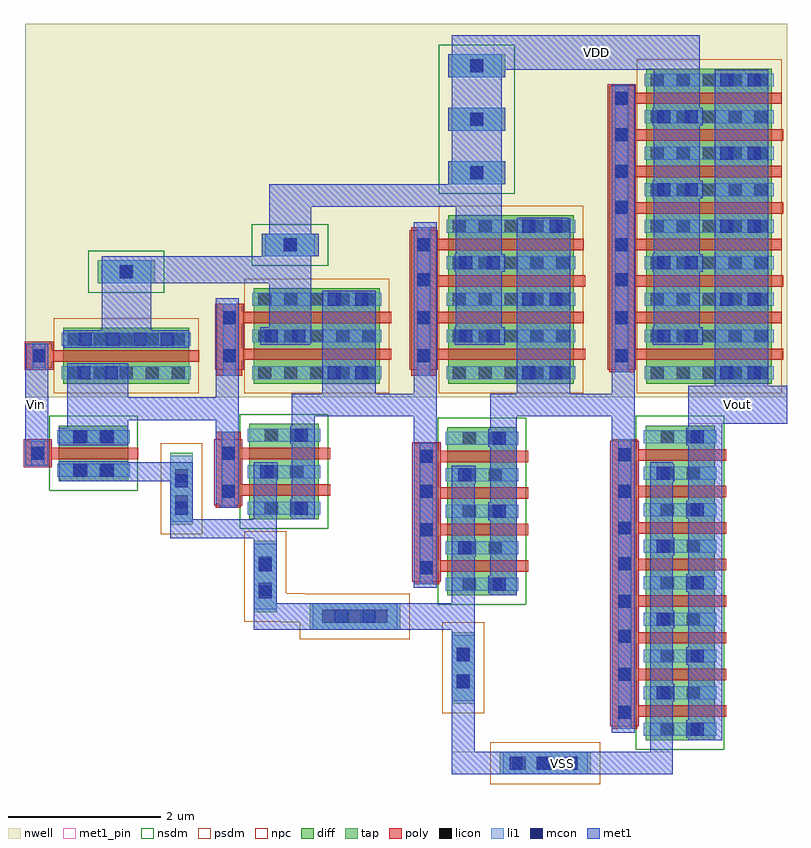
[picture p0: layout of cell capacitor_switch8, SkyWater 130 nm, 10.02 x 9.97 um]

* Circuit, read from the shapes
.subckt capacitor_switch8 VDD VSS Vin Vout
XM1 n1 Vin VSS VSS sky130_fd_pr__nfet_01v8 w=0.91 l=0.15
XM2 VSS n1 n2 VSS sky130_fd_pr__nfet_01v8 w=0.91 l=0.15 m=2
XM3 VSS n2 n3 VSS sky130_fd_pr__nfet_01v8 w=0.91 l=0.15 m=4
XM4 VSS n3 Vout VSS sky130_fd_pr__nfet_01v8 w=0.91 l=0.15 m=8
XM5 VDD Vin n1 VDD sky130_fd_pr__pfet_01v8 w=1.65 l=0.15
XM6 VDD n1 n2 VDD sky130_fd_pr__pfet_01v8 w=1.65 l=0.15 m=2
XM7 VDD n2 n3 VDD sky130_fd_pr__pfet_01v8 w=1.65 l=0.15 m=4
XM8 VDD n3 Vout VDD sky130_fd_pr__pfet_01v8 w=1.65 l=0.15 m=8
.ends

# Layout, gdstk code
from math import pi, radians
import gdstk
lib = gdstk.Library(unit=1e-6, precision=1e-09)
def R(c, l, rs):  # rectangles x0, y0, x1, y1
    for r in rs: c.add(gdstk.rectangle(r[:2], r[2:], *l))
def A(c, l, x, y, w, h, nx, ny, dx, dy):  # array of equal rectangles
    R(c, l, [(x+i*dx, y+j*dy, x+i*dx+w, y+j*dy+h) for i in range(nx) for j in range(ny)])
nwell = (64, 20)
diff = (65, 20)
tap = (65, 44)
poly = (66, 20)
licon = (66, 44)
li1 = (67, 20)
mcon = (67, 44)
met1_pin = (68, 16)
met1 = (68, 20)
nsdm = (93, 44)
psdm = (94, 20)
npc = (95, 20)

sky130_fd_pr__nfet_01v8_ = lib.new_cell('sky130_fd_pr__nfet_01v8_9CGS2F')
R(sky130_fd_pr__nfet_01v8_, diff, [(-0.365,-0.3,0.365,0.61)])
R(sky130_fd_pr__nfet_01v8_, poly, [(-0.165,-0.74,0.165,-0.41), (-0.075,-0.41,0.075,0.74)])
R(sky130_fd_pr__nfet_01v8_, licon, [(-0.085,-0.66,0.085,-0.49), (-0.305,-0.1,-0.135,0.07), (0.135,-0.1,0.305,0.07), (-0.305,0.24,-0.135,0.41), (0.135,0.24,0.305,0.41)])
R(sky130_fd_pr__nfet_01v8_, li1, [(-0.165,-0.66,0.165,-0.49), (-0.305,-0.32,-0.135,0.63), (0.135,-0.32,0.305,0.63)])
R(sky130_fd_pr__nfet_01v8_, mcon, [(-0.085,-0.66,0.085,-0.49), (-0.305,-0.11,-0.135,0.06), (0.135,-0.11,0.305,0.06), (-0.305,0.25,-0.135,0.42), (0.135,0.25,0.305,0.42)])
R(sky130_fd_pr__nfet_01v8_, met1, [(-0.145,-0.69,0.145,-0.46), (-0.335,-0.3,-0.105,0.61), (0.105,-0.3,0.335,0.61)])
R(sky130_fd_pr__nfet_01v8_, nsdm, [(-0.49,-0.425,0.49,0.735)])
R(sky130_fd_pr__nfet_01v8_, npc, [(-0.185,-0.76,0.185,-0.39)])

sky130_fd_pr__pfet_01v8_ = lib.new_cell('sky130_fd_pr__pfet_01v8_CBVRKH')
R(sky130_fd_pr__pfet_01v8_, nwell, [(-2.255,-1.325,2.245,1.025)])
R(sky130_fd_pr__pfet_01v8_, diff, [(-2.065,-0.825,2.065,0.825)])
A(sky130_fd_pr__pfet_01v8_, poly, -1.755, -0.98, 0.15, 1.935, 4, 1, 0.96, 0)
A(sky130_fd_pr__pfet_01v8_, poly, -1.275, -0.98, 0.15, 1.955, 4, 1, 0.96, 0)
R(sky130_fd_pr__pfet_01v8_, poly, [(-1.845,-1.31,1.915,-0.98)])
A(sky130_fd_pr__pfet_01v8_, licon, -1.765, -1.23, 0.17, 0.17, 3, 1, 0.48, 0)
A(sky130_fd_pr__pfet_01v8_, licon, 0.615, -1.23, 0.17, 0.17, 3, 1, 0.5, 0)
A(sky130_fd_pr__pfet_01v8_, licon, -2.005, -0.765, 0.17, 0.17, 9, 5, 0.48, 0.34)
R(sky130_fd_pr__pfet_01v8_, licon, [(-0.335,-1.23,-0.165,-1.06), (0.155,-1.23,0.325,-1.06)])
A(sky130_fd_pr__pfet_01v8_, li1, -2.005, -0.845, 0.17, 1.69, 9, 1, 0.48, 0)
R(sky130_fd_pr__pfet_01v8_, li1, [(-1.845,-1.23,1.915,-1.06)])
A(sky130_fd_pr__pfet_01v8_, mcon, -1.765, -1.23, 0.17, 0.17, 3, 1, 0.48, 0)
A(sky130_fd_pr__pfet_01v8_, mcon, 0.615, -1.23, 0.17, 0.17, 3, 1, 0.5, 0)
A(sky130_fd_pr__pfet_01v8_, mcon, -1.525, -0.68, 0.17, 0.17, 4, 2, 0.96, 0.36)
A(sky130_fd_pr__pfet_01v8_, mcon, -2.005, 0.145, 0.17, 0.17, 5, 2, 0.96, 0.36)
R(sky130_fd_pr__pfet_01v8_, mcon, [(-0.335,-1.23,-0.165,-1.06), (0.155,-1.23,0.325,-1.06)])
A(sky130_fd_pr__pfet_01v8_, met1, -1.555, -0.74, 0.23, 0.655, 4, 1, 0.96, 0)
A(sky130_fd_pr__pfet_01v8_, met1, -2.035, 0.085, 0.23, 0.655, 5, 1, 0.96, 0)
R(sky130_fd_pr__pfet_01v8_, met1, [(-1.835,-1.26,1.915,-1.03)])
R(sky130_fd_pr__pfet_01v8_, psdm, [(-2.19,-0.95,2.19,0.95)])
R(sky130_fd_pr__pfet_01v8_, npc, [(-1.865,-1.33,1.885,-0.96)])

c_sky130_fd_pr__nfet_01v8_ = lib.new_cell('sky130_fd_pr__nfet_01v8_MRXJZU')
R(c_sky130_fd_pr__nfet_01v8_, diff, [(-2.065,-0.455,2.065,0.455)])
A(c_sky130_fd_pr__nfet_01v8_, poly, -1.755, -0.565, 0.15, 1.17, 8, 1, 0.48, 0)
R(c_sky130_fd_pr__nfet_01v8_, poly, [(-1.885,-0.895,1.915,-0.565)])
A(c_sky130_fd_pr__nfet_01v8_, licon, -1.765, -0.815, 0.17, 0.17, 3, 1, 0.48, 0)
A(c_sky130_fd_pr__nfet_01v8_, licon, 0.615, -0.815, 0.17, 0.17, 3, 1, 0.5, 0)
A(c_sky130_fd_pr__nfet_01v8_, licon, -2.005, -0.255, 0.17, 0.17, 9, 2, 0.48, 0.34)
R(c_sky130_fd_pr__nfet_01v8_, licon, [(-0.335,-0.815,-0.165,-0.645), (0.155,-0.815,0.325,-0.645)])
A(c_sky130_fd_pr__nfet_01v8_, li1, -2.005, -0.475, 0.17, 0.95, 9, 1, 0.48, 0)
R(c_sky130_fd_pr__nfet_01v8_, li1, [(-1.885,-0.815,1.915,-0.645)])
A(c_sky130_fd_pr__nfet_01v8_, mcon, -1.765, -0.815, 0.17, 0.17, 3, 1, 0.48, 0)
A(c_sky130_fd_pr__nfet_01v8_, mcon, 0.615, -0.815, 0.17, 0.17, 3, 1, 0.5, 0)
A(c_sky130_fd_pr__nfet_01v8_, mcon, -1.525, -0.31, 0.17, 0.17, 4, 1, 0.96, 0)
A(c_sky130_fd_pr__nfet_01v8_, mcon, -2.005, 0.14, 0.17, 0.17, 5, 1, 0.96, 0)
R(c_sky130_fd_pr__nfet_01v8_, mcon, [(-0.335,-0.815,-0.165,-0.645), (0.155,-0.815,0.325,-0.645)])
A(c_sky130_fd_pr__nfet_01v8_, met1, -1.555, -0.37, 0.23, 0.29, 4, 1, 0.96, 0)
A(c_sky130_fd_pr__nfet_01v8_, met1, -2.035, 0.08, 0.23, 0.29, 5, 1, 0.96, 0)
R(c_sky130_fd_pr__nfet_01v8_, met1, [(-1.885,-0.845,1.915,-0.615)])
R(c_sky130_fd_pr__nfet_01v8_, nsdm, [(-2.19,-0.58,2.19,0.58)])
R(c_sky130_fd_pr__nfet_01v8_, npc, [(-1.865,-0.915,1.885,-0.545)])

c_sky130_fd_pr__pfet_01v8_ = lib.new_cell('sky130_fd_pr__pfet_01v8_CBDHKH')
R(c_sky130_fd_pr__pfet_01v8_, nwell, [(-1.315,-1.325,1.285,1.025)])
R(c_sky130_fd_pr__pfet_01v8_, diff, [(-1.105,-0.825,1.105,0.825)])
R(c_sky130_fd_pr__pfet_01v8_, poly, [(-0.945,-1.31,1.005,-0.98), (-0.795,-0.98,-0.645,0.955), (-0.315,-0.98,-0.165,0.975), (0.165,-0.98,0.315,0.955), (0.645,-0.98,0.795,0.975)])
A(c_sky130_fd_pr__pfet_01v8_, licon, -0.345, -1.23, 0.17, 0.17, 3, 1, 0.5, 0)
A(c_sky130_fd_pr__pfet_01v8_, licon, -1.045, -0.765, 0.17, 0.17, 5, 5, 0.48, 0.34)
R(c_sky130_fd_pr__pfet_01v8_, licon, [(-0.805,-1.23,-0.635,-1.06)])
A(c_sky130_fd_pr__pfet_01v8_, li1, -1.045, -0.845, 0.17, 1.69, 5, 1, 0.48, 0)
R(c_sky130_fd_pr__pfet_01v8_, li1, [(-0.945,-1.23,1.005,-1.06)])
A(c_sky130_fd_pr__pfet_01v8_, mcon, -0.345, -1.23, 0.17, 0.17, 3, 1, 0.5, 0)
A(c_sky130_fd_pr__pfet_01v8_, mcon, -1.045, 0.145, 0.17, 0.17, 3, 2, 0.96, 0.36)
R(c_sky130_fd_pr__pfet_01v8_, mcon, [(-0.805,-1.23,-0.635,-1.06), (-0.565,-0.68,-0.395,-0.51), (0.395,-0.68,0.565,-0.51), (-0.565,-0.32,-0.395,-0.15), (0.395,-0.32,0.565,-0.15)])
A(c_sky130_fd_pr__pfet_01v8_, met1, -1.075, 0.085, 0.23, 0.655, 3, 1, 0.96, 0)
R(c_sky130_fd_pr__pfet_01v8_, met1, [(-0.945,-1.26,1.005,-1.03), (-0.595,-0.74,-0.365,-0.085), (0.365,-0.74,0.595,-0.085)])
R(c_sky130_fd_pr__pfet_01v8_, psdm, [(-1.23,-0.95,1.23,0.95)])
R(c_sky130_fd_pr__pfet_01v8_, npc, [(-0.905,-1.33,0.925,-0.96)])

c_sky130_fd_pr__nfet_01v8__ = lib.new_cell('sky130_fd_pr__nfet_01v8_ZDVJZL')
R(c_sky130_fd_pr__nfet_01v8__, diff, [(-1.105,-0.455,1.105,0.455)])
A(c_sky130_fd_pr__nfet_01v8__, poly, -0.795, -0.565, 0.15, 1.17, 4, 1, 0.48, 0)
R(c_sky130_fd_pr__nfet_01v8__, poly, [(-0.895,-0.895,0.955,-0.565)])
A(c_sky130_fd_pr__nfet_01v8__, licon, -0.345, -0.815, 0.17, 0.17, 3, 1, 0.5, 0)
A(c_sky130_fd_pr__nfet_01v8__, licon, -1.045, -0.255, 0.17, 0.17, 5, 2, 0.48, 0.34)
R(c_sky130_fd_pr__nfet_01v8__, licon, [(-0.805,-0.815,-0.635,-0.645)])
A(c_sky130_fd_pr__nfet_01v8__, li1, -1.045, -0.475, 0.17, 0.95, 5, 1, 0.48, 0)
R(c_sky130_fd_pr__nfet_01v8__, li1, [(-0.895,-0.815,0.955,-0.645)])
A(c_sky130_fd_pr__nfet_01v8__, mcon, -0.345, -0.815, 0.17, 0.17, 3, 1, 0.5, 0)
A(c_sky130_fd_pr__nfet_01v8__, mcon, -1.045, 0.14, 0.17, 0.17, 3, 1, 0.96, 0)
R(c_sky130_fd_pr__nfet_01v8__, mcon, [(-0.805,-0.815,-0.635,-0.645), (-0.565,-0.31,-0.395,-0.14), (0.395,-0.31,0.565,-0.14)])
A(c_sky130_fd_pr__nfet_01v8__, met1, -1.075, 0.08, 0.23, 0.29, 3, 1, 0.96, 0)
R(c_sky130_fd_pr__nfet_01v8__, met1, [(-0.895,-0.845,0.955,-0.615), (-0.595,-0.37,-0.365,-0.08), (0.365,-0.37,0.595,-0.08)])
R(c_sky130_fd_pr__nfet_01v8__, nsdm, [(-1.23,-0.58,1.23,0.58)])
R(c_sky130_fd_pr__nfet_01v8__, npc, [(-0.905,-0.915,0.925,-0.545)])

c_sky130_fd_pr__pfet_01v8__ = lib.new_cell('sky130_fd_pr__pfet_01v8_CBMBZG')
R(c_sky130_fd_pr__pfet_01v8__, nwell, [(-0.845,-1.325,0.805,1.025)])
R(c_sky130_fd_pr__pfet_01v8__, diff, [(-0.625,-0.825,0.625,0.825)])
R(c_sky130_fd_pr__pfet_01v8__, poly, [(-0.425,-1.31,0.525,-0.98), (-0.315,-0.98,-0.165,0.975), (0.165,-0.98,0.315,0.975)])
A(c_sky130_fd_pr__pfet_01v8__, licon, -0.565, -0.765, 0.17, 0.17, 3, 5, 0.48, 0.34)
R(c_sky130_fd_pr__pfet_01v8__, licon, [(-0.325,-1.23,-0.155,-1.06), (0.175,-1.23,0.345,-1.06)])
A(c_sky130_fd_pr__pfet_01v8__, li1, -0.565, -0.845, 0.17, 1.69, 3, 1, 0.48, 0)
R(c_sky130_fd_pr__pfet_01v8__, li1, [(-0.425,-1.23,0.525,-1.06)])
R(c_sky130_fd_pr__pfet_01v8__, mcon, [(-0.325,-1.23,-0.155,-1.06), (0.175,-1.23,0.345,-1.06), (-0.085,-0.68,0.085,-0.51), (-0.085,-0.32,0.085,-0.15), (-0.565,0.145,-0.395,0.315), (0.395,0.145,0.565,0.315), (-0.565,0.505,-0.395,0.675), (0.395,0.505,0.565,0.675)])
R(c_sky130_fd_pr__pfet_01v8__, met1, [(-0.425,-1.26,0.525,-1.03), (-0.115,-0.74,0.115,-0.085), (-0.595,0.085,-0.365,0.74), (0.365,0.085,0.595,0.74)])
R(c_sky130_fd_pr__pfet_01v8__, psdm, [(-0.75,-0.95,0.75,0.95)])
R(c_sky130_fd_pr__pfet_01v8__, npc, [(-0.425,-1.33,0.445,-0.96)])

c_sky130_fd_pr__nfet_01v8___ = lib.new_cell('sky130_fd_pr__nfet_01v8_5XXJZ8')
R(c_sky130_fd_pr__nfet_01v8___, diff, [(-0.625,-0.455,0.625,0.455)])
R(c_sky130_fd_pr__nfet_01v8___, poly, [(-0.525,-0.895,0.475,-0.565), (-0.315,-0.565,-0.165,0.605), (0.165,-0.565,0.315,0.605)])
A(c_sky130_fd_pr__nfet_01v8___, licon, -0.565, -0.255, 0.17, 0.17, 3, 2, 0.48, 0.34)
R(c_sky130_fd_pr__nfet_01v8___, licon, [(-0.325,-0.815,-0.155,-0.645), (0.175,-0.815,0.345,-0.645)])
A(c_sky130_fd_pr__nfet_01v8___, li1, -0.565, -0.475, 0.17, 0.95, 3, 1, 0.48, 0)
R(c_sky130_fd_pr__nfet_01v8___, li1, [(-0.525,-0.815,0.475,-0.645)])
R(c_sky130_fd_pr__nfet_01v8___, mcon, [(-0.325,-0.815,-0.155,-0.645), (0.175,-0.815,0.345,-0.645), (-0.085,-0.31,0.085,-0.14), (-0.565,0.14,-0.395,0.31), (0.395,0.14,0.565,0.31)])
R(c_sky130_fd_pr__nfet_01v8___, met1, [(-0.525,-0.845,0.475,-0.615), (-0.115,-0.37,0.115,-0.08), (-0.595,0.08,-0.365,0.37), (0.365,0.08,0.595,0.37)])
R(c_sky130_fd_pr__nfet_01v8___, nsdm, [(-0.75,-0.58,0.75,0.58)])
R(c_sky130_fd_pr__nfet_01v8___, npc, [(-0.425,-0.915,0.445,-0.545)])

c_sky130_fd_pr__pfet_01v8___ = lib.new_cell('sky130_fd_pr__pfet_01v8_46WN3R')
R(c_sky130_fd_pr__pfet_01v8___, nwell, [(-0.545,-1.145,0.545,1.315)])
R(c_sky130_fd_pr__pfet_01v8___, diff, [(-0.365,-0.645,0.365,1.005)])
R(c_sky130_fd_pr__pfet_01v8___, poly, [(-0.165,-1.13,0.165,-0.8), (-0.075,-0.8,0.075,1.135)])
A(c_sky130_fd_pr__pfet_01v8___, licon, -0.305, -0.585, 0.17, 0.17, 1, 5, 0, 0.34)
A(c_sky130_fd_pr__pfet_01v8___, licon, 0.135, -0.585, 0.17, 0.17, 1, 5, 0, 0.34)
R(c_sky130_fd_pr__pfet_01v8___, licon, [(-0.085,-1.05,0.085,-0.88)])
R(c_sky130_fd_pr__pfet_01v8___, li1, [(-0.165,-1.05,0.165,-0.88), (-0.305,-0.665,-0.135,1.025), (0.135,-0.665,0.305,1.025)])
A(c_sky130_fd_pr__pfet_01v8___, mcon, 0.135, -0.445, 0.17, 0.17, 1, 4, 0, 0.36)
R(c_sky130_fd_pr__pfet_01v8___, mcon, [(-0.085,-1.05,0.085,-0.88), (-0.305,-0.46,-0.135,-0.29), (-0.305,-0.1,-0.135,0.07)])
R(c_sky130_fd_pr__pfet_01v8___, met1, [(-0.145,-1.08,0.145,-0.85), (0.105,-0.645,0.335,1.005), (-0.335,-0.56,-0.105,0.17)])
R(c_sky130_fd_pr__pfet_01v8___, psdm, [(-0.49,-0.77,0.49,1.13)])
R(c_sky130_fd_pr__pfet_01v8___, npc, [(-0.185,-1.15,0.185,-0.78)])

capacitor_switch8 = lib.new_cell('capacitor_switch8')
R(capacitor_switch8, nwell, [(-0.1,5.4,9.9,10.3)])
A(capacitor_switch8, tap, 5.45, 8.2, 0.75, 0.3, 1, 3, 0, 0.7)
R(capacitor_switch8, tap, [(6.13,0.45,7.32,0.75), (5.5,1.38,5.8,2.32), (3.63,2.35,4.82,2.7), (2.9,2.58,3.2,3.52), (1.8,3.73,2.1,4.67), (0.85,6.9,1.6,7.2), (3,7.25,3.75,7.55)])
A(capacitor_switch8, licon, 6.3, 0.515, 0.17, 0.17, 3, 1, 0.34, 0)
A(capacitor_switch8, licon, 3.8, 2.44, 0.17, 0.17, 3, 1, 0.34, 0)
A(capacitor_switch8, licon, 5.74, 8.265, 0.17, 0.17, 1, 3, 0, 0.7)
R(capacitor_switch8, licon, [(5.565,1.595,5.735,1.765), (5.565,1.935,5.735,2.105), (2.965,2.795,3.135,2.965), (2.965,3.135,3.135,3.305), (1.865,3.945,2.035,4.115), (1.865,4.285,2.035,4.455), (1.14,6.965,1.31,7.135), (3.29,7.315,3.46,7.485)])
A(capacitor_switch8, li1, 5.5, 8.2, 0.65, 0.3, 1, 3, 0, 0.7)
R(capacitor_switch8, li1, [(6.17,0.45,7.28,0.75), (5.5,1.42,5.8,2.28), (3.67,2.35,4.78,2.7), (2.9,2.62,3.2,3.48), (1.8,3.77,2.1,4.63), (0.9,6.9,1.55,7.2), (3.05,7.25,3.7,7.55)])
A(capacitor_switch8, mcon, 6.255, 0.515, 0.17, 0.17, 3, 1, 0.36, 0)
A(capacitor_switch8, mcon, 5.74, 8.265, 0.17, 0.17, 1, 3, 0, 0.7)
R(capacitor_switch8, mcon, [(5.565,1.585,5.735,1.755), (5.565,1.945,5.735,2.115), (3.96,2.44,4.13,2.61), (4.32,2.44,4.49,2.61), (2.965,2.76,3.135,2.93), (2.965,3.12,3.135,3.29), (1.865,3.86,2.035,4.03), (1.865,4.22,2.035,4.39), (1.14,6.965,1.31,7.135), (3.29,7.315,3.46,7.485)])
R(capacitor_switch8, met1_pin, [(5.5,0.45,8.4,0.75), (-0.1,4.5,0.2,6.1), (8.6,5.05,9.9,5.55), (6.05,9.7,8.75,10.15)])
R(capacitor_switch8, met1, [(5.5,0.45,8.4,0.75), (5.5,0.75,5.8,2.35), (8.1,0.75,8.4,4.55), (8.6,0.9,9.05,5.05), (7.6,1,7.9,5.15), (2.9,2.35,5.8,2.7), (2.9,2.7,3.2,3.55), (5.5,2.7,5.8,4.5), (6,2.8,6.35,5.15), (5,2.9,5.3,5.15), (1.8,3.55,3.2,3.8), (1.8,3.8,2.1,4.3), (2.9,3.8,3.2,4.55), (3.4,3.8,3.7,5.15), (2.4,4,2.7,5.1), (0.35,4.3,2.1,4.55), (-0.1,4.5,0.2,6.1), (0.45,4.8,1.25,5.1), (8.6,5.05,9.9,5.55), (0.45,5.1,2.7,5.4), (3.4,5.15,5.3,5.45), (6,5.15,7.9,5.45), (0.45,5.4,1.25,5.85), (2.4,5.4,2.7,6.7), (3.8,5.45,4.5,6.8), (5,5.45,5.3,7.7), (6.35,5.45,7.05,7.75), (7.6,5.45,7.9,9.5), (8.95,5.55,9.65,9.7), (0.9,6.05,1.55,6.9), (3.1,6.1,3.65,6.9), (5.55,6.1,6.15,7.9), (8.15,6.1,8.75,9.7), (0.9,6.9,3.65,7.25), (3,7.25,3.75,7.55), (3.1,7.55,3.65,7.9), (3.1,7.9,6.15,8.2), (5.45,8.2,6.2,8.5), (5.5,8.5,6.15,8.9), (5.45,8.9,6.2,9.2), (5.5,9.2,6.15,9.6), (5.45,9.6,6.2,9.7), (5.45,9.7,8.75,9.9), (5.5,9.9,8.75,10.15)])
R(capacitor_switch8, nsdm, [(0.725,6.775,1.725,7.325), (2.875,7.125,3.875,7.675), (5.325,8.075,6.325,10.025)])
R(capacitor_switch8, psdm, [(6.005,0.325,7.445,0.875), (5.375,1.255,5.925,2.445), (3.505,2.225,4.945,2.45), (3.26,2.45,4.945,2.455), (2.775,2.455,4.945,2.825), (2.775,2.825,3.57,2.83), (2.775,2.83,3.325,3.645), (1.675,3.605,2.225,4.795)])
capacitor_switch8.add(gdstk.Reference(sky130_fd_pr__nfet_01v8_, (0.64,4.665), rotation=3*pi/2))
capacitor_switch8.add(gdstk.Reference(sky130_fd_pr__pfet_01v8_, (8.875,7.645), rotation=3*pi/2))
capacitor_switch8.add(gdstk.Reference(c_sky130_fd_pr__nfet_01v8_, (8.495,2.965), rotation=3*pi/2))
capacitor_switch8.add(gdstk.Reference(c_sky130_fd_pr__pfet_01v8_, (6.275,6.685), rotation=3*pi/2))
capacitor_switch8.add(gdstk.Reference(c_sky130_fd_pr__nfet_01v8__, (5.895,3.905), rotation=3*pi/2))
capacitor_switch8.add(gdstk.Reference(c_sky130_fd_pr__pfet_01v8__, (3.725,6.205), rotation=3*pi/2))
capacitor_switch8.add(gdstk.Reference(c_sky130_fd_pr__nfet_01v8___, (3.295,4.425), rotation=3*pi/2))
capacitor_switch8.add(gdstk.Reference(c_sky130_fd_pr__pfet_01v8___, (1.045,5.945), rotation=pi/2, x_reflection=True))
capacitor_switch8.add(gdstk.Label('VDD', (7.4,9.925), layer=68, texttype=16))
capacitor_switch8.add(gdstk.Label('Vin', (0.05,5.3), layer=68, texttype=16))
capacitor_switch8.add(gdstk.Label('Vout', (9.25,5.3), layer=68, texttype=16))
capacitor_switch8.add(gdstk.Label('VSS', (6.95,0.6), layer=68, texttype=16))

lib.write_gds('capacitor_switch8.gds')
